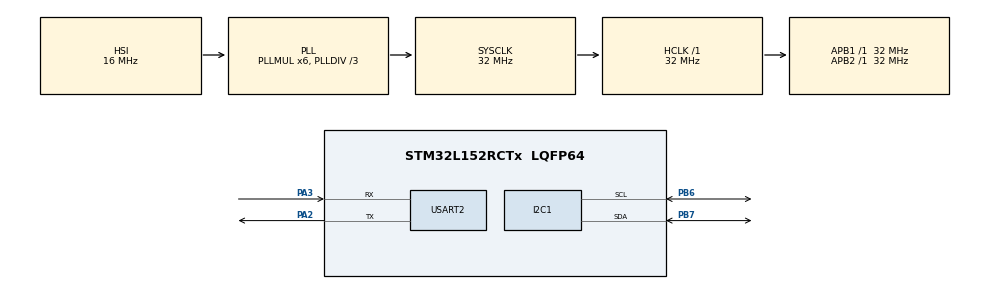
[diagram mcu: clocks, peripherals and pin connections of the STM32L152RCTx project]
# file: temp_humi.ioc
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Mcu.Family=STM32L1
Mcu.Name=STM32L152RCTx
Mcu.Package=LQFP64
NVIC.PriorityGroup=NVIC_PRIORITYGROUP_0
PA13.Mode=Serial_Wire
PA13.Signal=SYS_JTMS-SWDIO
PA14.Mode=Serial_Wire
PA14.Signal=SYS_JTCK-SWCLK
PA2.Mode=Asynchronous
PA2.Signal=USART2_TX
PA3.Mode=Asynchronous
PA3.Signal=USART2_RX
PB6.Mode=I2C
PB6.Signal=I2C1_SCL
PB7.Mode=I2C
PB7.Signal=I2C1_SDA
PH0-OSC_IN.Mode=HSE-External-Oscillator
PH0-OSC_IN.Signal=RCC_OSC_IN
PH1-OSC_OUT.Mode=HSE-External-Oscillator
PH1-OSC_OUT.Signal=RCC_OSC_OUT
ProjectManager.HeapSize=0x200
ProjectManager.StackSize=0x400
ProjectManager.TargetToolchain=STM32CubeIDE
RCC.48MHZClocksFreq_Value=48000000
RCC.AHBFreq_Value=32000000
RCC.APB1Freq_Value=32000000
RCC.APB1TimFreq_Value=32000000
RCC.APB2Freq_Value=32000000
RCC.APB2TimFreq_Value=32000000
RCC.HCLKFreq_Value=32000000
RCC.HSE_VALUE=8000000
RCC.HSI_VALUE=16000000
RCC.LSE_VALUE=32768
RCC.MSI_VALUE=2097000
RCC.PLLDIV=RCC_PLL_DIV3
RCC.PLLMUL=RCC_PLL_MUL6
RCC.RTCClockSelectionVirtual=RCC_RTCCLKSOURCE_LSE
RCC.SYSCLKFreq_VALUE=32000000
RCC.SYSCLKSource=RCC_SYSCLKSOURCE_PLLCLK
RCC.USBOutput=48000000
RCC.VCOOutputFreq_Value=96000000
USART2.VirtualMode=VM_ASYNC
board=STM32L152C-DISCO

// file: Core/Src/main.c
/* USER CODE BEGIN Header */
/**
  ******************************************************************************
  * @file           : main.c
  * @brief          : Main program body
  ******************************************************************************
  * @attention
  *
  * Copyright (c) 2023 STMicroelectronics.
  * All rights reserved.
  *
  * This software is licensed under terms that can be found in the LICENSE file
  * in the root directory of this software component.
  * If no LICENSE file comes with this software, it is provided AS-IS.
  *
  ******************************************************************************
  */
/* USER CODE END Header */
#include "main.h"

/* USER CODE BEGIN Includes */
#include "stdio.h"
#include "string.h"
#include "sht2x_for_stm32_hal.h"

/* USER CODE END Includes */

I2C_HandleTypeDef hi2c1;

UART_HandleTypeDef huart2;

void SystemClock_Config(void);
static void MX_GPIO_Init(void);
static void MX_I2C1_Init(void);
static void MX_USART2_UART_Init(void);

int main(void)
{

  /* MCU Configuration--------------------------------------------------------*/

  /* Reset of all peripherals, Initializes the Flash interface and the Systick. */
  HAL_Init();

  /* Configure the system clock */
  SystemClock_Config();

  /* Initialize all configured peripherals */
  MX_GPIO_Init();
  MX_I2C1_Init();
  MX_USART2_UART_Init();
  /* USER CODE BEGIN 2 */
  /* Initializes SHT2x temperature/humidity sensor and sets the resolution. */
  	SHT2x_Init(&hi2c1);
//
//  HAL_StatusTypeDef result;
//   	uint8_t i;
//   	for (i=1; i<128; i++)
//   	{
//   	  /*
//   	   * the HAL wants a left aligned i2c address
//   	   * &hi2c1 is the handle
//   	   * (uint16_t)(i<<1) is the i2c address left aligned
//   	   * retries 2
//   	   * timeout 2
//   	   */
//   	  result = HAL_I2C_IsDeviceReady(&hi2c1, (uint16_t)(i<<1), 2, 2);
//   	  if (result != HAL_OK) // HAL_ERROR or HAL_BUSY or HAL_TIMEOUT
//   	  {
//   		  printf("."); // No ACK received at that address
//   	  }
//   	  if (result == HAL_OK)
//   	  {
//   		  printf("0x%X\r\n", i); // Received an ACK at that address
//   	  }
//   	}
//   	printf("\r\n");

  /* USER CODE END 2 */

  /* Infinite loop */
  while (1)
  {

    /* USER CODE BEGIN 3 */
	  unsigned char buffer[100] = { 0 };
	  		/* Gets current temperature & relative humidity. */
	  		float cel = SHT2x_GetTemperature(1);
	  		/* Converts temperature to degrees Fahrenheit and Kelvin */
	  		float fah = SHT2x_CelsiusToFahrenheit(cel);
	  		float kel = SHT2x_CelsiusToKelvin(cel);
	  		float rh = SHT2x_GetRelativeHumidity(1);
	  		/* May show warning below. Ignore and proceed. */
	  		sprintf(buffer,"%d.%dºC, %d.%dºF, %d.%d K, %d.%d%% RH\n",
	  				SHT2x_GetInteger(cel), SHT2x_GetDecimal(cel, 1),
	  				SHT2x_GetInteger(fah), SHT2x_GetDecimal(fah, 1),
	  				SHT2x_GetInteger(kel), SHT2x_GetDecimal(kel, 1),
	  				SHT2x_GetInteger(rh), SHT2x_GetDecimal(rh, 1));
	  		HAL_UART_Transmit(&huart2, buffer, strlen(buffer), 1000);
	  		HAL_Delay(250);
  }
  /* USER CODE END 3 */
}

void SystemClock_Config(void)
{
  RCC_OscInitTypeDef RCC_OscInitStruct = {0};
  RCC_ClkInitTypeDef RCC_ClkInitStruct = {0};

  /** Configure the main internal regulator output voltage
  */
  __HAL_PWR_VOLTAGESCALING_CONFIG(PWR_REGULATOR_VOLTAGE_SCALE1);

  /** Initializes the RCC Oscillators according to the specified parameters
  * in the RCC_OscInitTypeDef structure.
  */
  RCC_OscInitStruct.OscillatorType = RCC_OSCILLATORTYPE_HSI;
  RCC_OscInitStruct.HSIState = RCC_HSI_ON;
  RCC_OscInitStruct.HSICalibrationValue = RCC_HSICALIBRATION_DEFAULT;
  RCC_OscInitStruct.PLL.PLLState = RCC_PLL_ON;
  RCC_OscInitStruct.PLL.PLLSource = RCC_PLLSOURCE_HSI;
  RCC_OscInitStruct.PLL.PLLMUL = RCC_PLL_MUL6;
  RCC_OscInitStruct.PLL.PLLDIV = RCC_PLL_DIV3;
  if (HAL_RCC_OscConfig(&RCC_OscInitStruct) != HAL_OK)
  {
    Error_Handler();
  }

  /** Initializes the CPU, AHB and APB buses clocks
  */
  RCC_ClkInitStruct.ClockType = RCC_CLOCKTYPE_HCLK|RCC_CLOCKTYPE_SYSCLK
                              |RCC_CLOCKTYPE_PCLK1|RCC_CLOCKTYPE_PCLK2;
  RCC_ClkInitStruct.SYSCLKSource = RCC_SYSCLKSOURCE_PLLCLK;
  RCC_ClkInitStruct.AHBCLKDivider = RCC_SYSCLK_DIV1;
  RCC_ClkInitStruct.APB1CLKDivider = RCC_HCLK_DIV1;
  RCC_ClkInitStruct.APB2CLKDivider = RCC_HCLK_DIV1;

  if (HAL_RCC_ClockConfig(&RCC_ClkInitStruct, FLASH_LATENCY_1) != HAL_OK)
  {
    Error_Handler();
  }
}

static void MX_I2C1_Init(void)
{

  hi2c1.Instance = I2C1;
  hi2c1.Init.ClockSpeed = 100000;
  hi2c1.Init.DutyCycle = I2C_DUTYCYCLE_2;
  hi2c1.Init.OwnAddress1 = 0;
  hi2c1.Init.AddressingMode = I2C_ADDRESSINGMODE_7BIT;
  hi2c1.Init.DualAddressMode = I2C_DUALADDRESS_DISABLE;
  hi2c1.Init.OwnAddress2 = 0;
  hi2c1.Init.GeneralCallMode = I2C_GENERALCALL_DISABLE;
  hi2c1.Init.NoStretchMode = I2C_NOSTRETCH_DISABLE;
  if (HAL_I2C_Init(&hi2c1) != HAL_OK)
  {
    Error_Handler();
  }

}

static void MX_USART2_UART_Init(void)
{

  huart2.Instance = USART2;
  huart2.Init.BaudRate = 115200;
  huart2.Init.WordLength = UART_WORDLENGTH_8B;
  huart2.Init.StopBits = UART_STOPBITS_1;
  huart2.Init.Parity = UART_PARITY_NONE;
  huart2.Init.Mode = UART_MODE_TX_RX;
  huart2.Init.HwFlowCtl = UART_HWCONTROL_NONE;
  huart2.Init.OverSampling = UART_OVERSAMPLING_16;
  if (HAL_UART_Init(&huart2) != HAL_OK)
  {
    Error_Handler();
  }

}

static void MX_GPIO_Init(void)
{

  /* GPIO Ports Clock Enable */
  __HAL_RCC_GPIOH_CLK_ENABLE();
  __HAL_RCC_GPIOA_CLK_ENABLE();
  __HAL_RCC_GPIOB_CLK_ENABLE();

}

void Error_Handler(void)
{
  __disable_irq();
  while (1)
  {
  }
}
